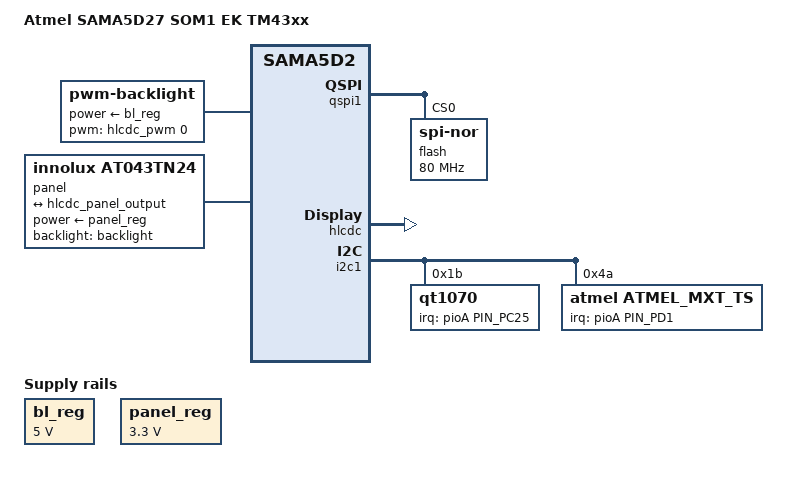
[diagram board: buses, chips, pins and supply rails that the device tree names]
/*
 * at91-sama5d27_som1_ek_pda4.dts - Device Tree file for SAMA5D27 SOM1 EK board
 *                                  with TM43xx screen
 *
 *  Copyright (c) 2017, Microchip Technology Inc.
 *                2016 Nicolas Ferre <nicolas.ferre@atmel.com>
 *                2017 Claudiu Beznea <claudiu.beznea@microchip.com>
 *
 * This file is dual-licensed: you can use it either under the terms
 * of the GPL or the X11 license, at your option. Note that this dual
 * licensing only applies to this file, and not this project as a
 * whole.
 *
 *  a) This file is free software; you can redistribute it and/or
 *     modify it under the terms of the GNU General Public License as
 *     published by the Free Software Foundation; either version 2 of the
 *     License, or (at your option) any later version.
 *
 *     This file is distributed in the hope that it will be useful,
 *     but WITHOUT ANY WARRANTY; without even the implied warranty of
 *     MERCHANTABILITY or FITNESS FOR A PARTICULAR PURPOSE.  See the
 *     GNU General Public License for more details.
 *
 * Or, alternatively,
 *
 *  b) Permission is hereby granted, free of charge, to any person
 *     obtaining a copy of this software and associated documentation
 *     files (the "Software"), to deal in the Software without
 *     restriction, including without limitation the rights to use,
 *     copy, modify, merge, publish, distribute, sublicense, and/or
 *     sell copies of the Software, and to permit persons to whom the
 *     Software is furnished to do so, subject to the following
 *     conditions:
 *
 *     The above copyright notice and this permission notice shall be
 *     included in all copies or substantial portions of the Software.
 *
 *     THE SOFTWARE IS PROVIDED "AS IS", WITHOUT WARRANTY OF ANY KIND,
 *     EXPRESS OR IMPLIED, INCLUDING BUT NOT LIMITED TO THE WARRANTIES
 *     OF MERCHANTABILITY, FITNESS FOR A PARTICULAR PURPOSE AND
 *     NONINFRINGEMENT. IN NO EVENT SHALL THE AUTHORS OR COPYRIGHT
 *     HOLDERS BE LIABLE FOR ANY CLAIM, DAMAGES OR OTHER LIABILITY,
 *     WHETHER IN AN ACTION OF CONTRACT, TORT OR OTHERWISE, ARISING
 *     FROM, OUT OF OR IN CONNECTION WITH THE SOFTWARE OR THE USE OR
 *     OTHER DEALINGS IN THE SOFTWARE.
 */
/dts-v1/;
#include "at91-sama5d27_som1_ek_common.dtsi"

/ {
	model = "Atmel SAMA5D27 SOM1 EK TM43xx";
	compatible = "atmel,sama5d27-som1-ek", "atmel,sama5d27-som1", "atmel,sama5d27", "atmel,sama5d2", "atmel,sama5";

	ahb {
		apb {
			qspi1: spi@f0024000 {
				flash@0 {
					#address-cells = <1>;
					#size-cells = <1>;
					compatible = "jedec,spi-nor";
					reg = <0>;
					spi-max-frequency = <80000000>;
					m25p,fast-read;

					at91bootstrap@00000000 {
						label = "at91bootstrap";
						reg = <0x00000000 0x00010000>;
					};

					bootloader@00010000 {
						label = "bootloader";
						reg = <0x00010000 0x000a0000>;
					};

					bootloaderenv@000b0000 {
						label = "bootloader env";
						reg = <0x000b0000 0x00010000>;
					};

					dtb@000c0000 {
						label = "device tree";
						reg = <0x000c0000 0x0020000>;
					};

					kernel@000e0000 {
						label = "kernel";
						reg = <0x000e0000 0x0400000>;
					};
				};
			};

			hlcdc: hlcdc@f0000000 {
				status = "okay";

				hlcdc-display-controller {
					port@0 {
						hlcdc_panel_output: endpoint@0 {
							reg = <0>;
							remote-endpoint = <&panel_input>;
						};
					};
				};
			};

			i2c1: i2c@fc028000 {
				qt1070: keyboard@1b {
					compatible = "qt1070";
					reg = <0x1b>;
					interrupt-parent = <&pioA>;
					interrupts = <PIN_PC25 IRQ_TYPE_NONE>;
					pinctrl-names = "default";
					pinctrl-0 = <&pinctrl_qt1070_irq>;
					wakeup-source;
				};

				atmel_mxt_ts@4a {
					compatible = "atmel,atmel_mxt_ts";
					reg = <0x4a>;
					interrupt-parent = <&pioA>;
					interrupts = <PIN_PD1 IRQ_TYPE_NONE>;
					pinctrl-names = "default";
					pinctrl-0 = <&pinctrl_mxt_irq>;
				};
			};

			pinctrl@fc038000 {
				pinctrl_mxt_irq: pinctrl_mxt_irq {
					pinmux = <PIN_PD1__GPIO>;
					bias-pull-up;
					input-debounce = <1>;
				};

				pinctrl_qt1070_irq: pinctrl_qt1070_irq {
					pinmux = <PIN_PC25__GPIO>;
					bias-pull-up;
					input-debounce = <1>;
				};
			};
		};
	};

	backlight: backlight {
		compatible = "pwm-backlight";
		pwms = <&hlcdc_pwm 0 50000 0>;
		brightness-levels = <0 4 8 16 32 64 128 255>;
		default-brightness-level = <7>;
		power-supply = <&bl_reg>;
		status = "okay";
	};

	bl_reg: backlight_regulator {
		compatible = "regulator-fixed";
		regulator-name = "backlight-power-supply";
		regulator-min-microvolt = <5000000>;
		regulator-max-microvolt = <5000000>;
		status = "okay";
	};

	panel: panel {
		compatible = "innolux,at043tn24", "simple-panel";
		backlight = <&backlight>;
		power-supply = <&panel_reg>;
		#address-cells = <1>;
		#size-cells = <0>;
		status = "okay";

		port@0 {
			reg = <0>;
			#address-cells = <1>;
			#size-cells = <0>;

			panel_input: endpoint@0 {
				reg = <0>;
				remote-endpoint = <&hlcdc_panel_output>;
			};
		};
	};

	panel_reg: panel_regulator {
		compatible = "regulator-fixed";
		regulator-name = "panel-power-supply";
		regulator-min-microvolt = <3300000>;
		regulator-max-microvolt = <3300000>;
		status = "okay";
	};
};
